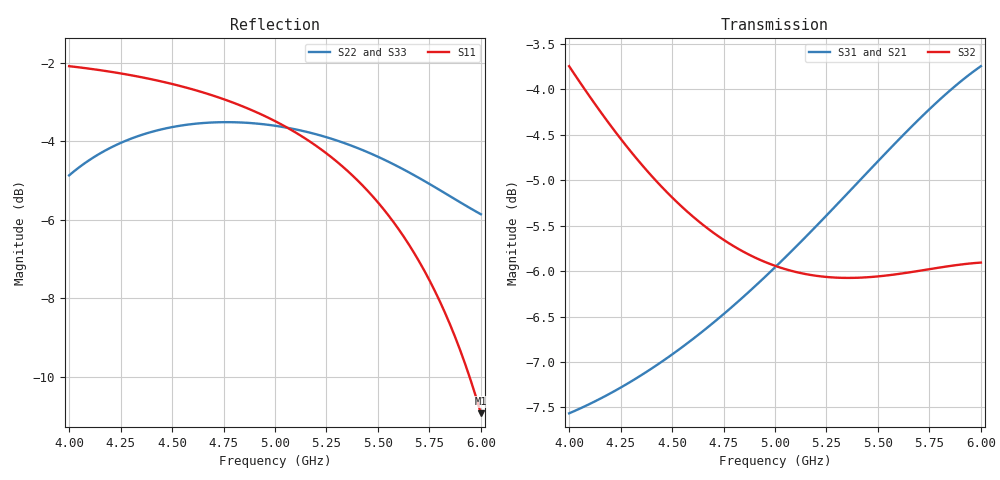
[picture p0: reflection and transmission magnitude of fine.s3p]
! yapnr rf: divider-osh-m-robust, footprint re-simulated (refine 2)
! spec sha256 77fdf852d0d26631bb656d9616c4182d62ef43e9964dceb588096e13d75818f1
! 3 ports renormalized to 50 ohm, e^(+jwt) convention
# GHz S RI R 50
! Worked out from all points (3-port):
!   81 points, 4 GHz to 6 GHz, reference 50 ohm
!   strongest paths, dB at 4 GHz, 4.5 GHz, 5 GHz, 5.5 GHz, 6 GHz:
!     S32: -3.7, -5.2, -5.9, -6.1, -5.9
!     S31: -7.6, -6.9, -6.0, -4.8, -3.7
!     S21: -7.6, -6.9, -6.0, -4.8, -3.7
!   lowest |S11| = -10.9 dB at 6 GHz (marker M1), VSWR 1.79, Z = 33.3 + j17.5 ohm
!   |S11| at or under -10 dB: 5.944 GHz to end of sweep
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4  -0.7504 0.2354  -0.1778 -0.3795  -0.1778 -0.3795
   -0.1778 -0.3789  -0.5248 -0.2245  -0.1378 0.635
   -0.1778 -0.3789  -0.1378 0.635  -0.5248 -0.2245
4.225  -0.7213 0.2749  -0.2164 -0.3732  -0.2164 -0.3732
       -0.2164 -0.3726  -0.6105 -0.1262  0.00818 0.5978
       -0.2164 -0.3726  0.00818 0.5978  -0.6105 -0.1262
4.45  -0.6838 0.3125  -0.2594 -0.3647  -0.2594 -0.3647
      -0.2592 -0.364  -0.6531 -0.0206  0.1229 0.5439
      -0.2592 -0.364  0.1229 0.5439  -0.6531 -0.0206
4.7  -0.6304 0.3504  -0.3133 -0.3506  -0.3133 -0.3506
     -0.313 -0.3499  -0.6606 0.0901  0.2247 0.4759
     -0.313 -0.3499  0.2247 0.4759  -0.6606 0.0901
5  -0.5473 0.3854  -0.3882 -0.3223  -0.3882 -0.3223
   -0.3876 -0.3215  -0.6288 0.2015  0.3242 0.3867
   -0.3876 -0.3215  0.3242 0.3867  -0.6288 0.2015
5.3  -0.4411 0.3984  -0.4736 -0.2724  -0.4736 -0.2724
     -0.4728 -0.2716  -0.5669 0.2802  0.4074 0.2849
     -0.4728 -0.2716  0.4074 0.2849  -0.5669 0.2802
5.6  -0.3149 0.3723  -0.5627 -0.1877  -0.5627 -0.1877
     -0.5616 -0.187  -0.4917 0.3176  0.4725 0.1617
     -0.5616 -0.187  0.4725 0.1617  -0.4917 0.3176
5.825  -0.217 0.3141  -0.6209 -0.0937  -0.6209 -0.0937
       -0.6196 -0.0931  -0.4402 0.316  0.5014 0.0515
       -0.6196 -0.0931  0.5014 0.0515  -0.4402 0.316
5.925  -0.1769 0.2755  -0.6405 -0.0429  -0.6405 -0.0429
       -0.639 -0.0424  -0.4224 0.3078  0.5058 -0.00204
       -0.639 -0.0424  0.5058 -0.00204  -0.4224 0.3078
6  -0.1497 0.2413  -0.6514 -0.00146  -0.6514 -0.00146
   -0.6498 -0.00104  -0.412 0.2993  0.5048 -0.0434
   -0.6498 -0.00104  0.5048 -0.0434  -0.412 0.2993
